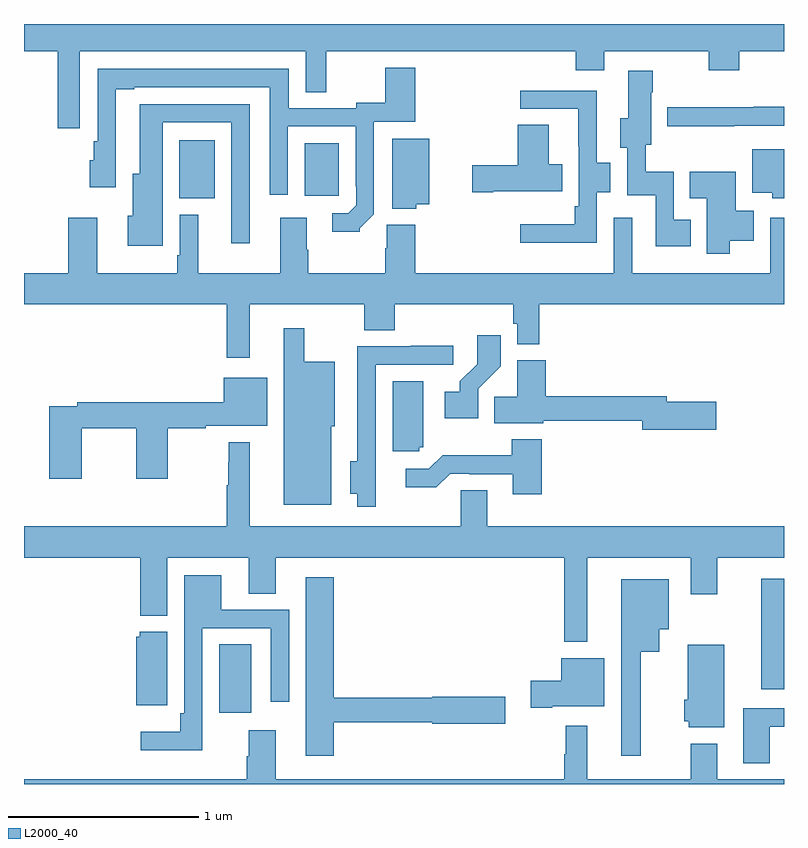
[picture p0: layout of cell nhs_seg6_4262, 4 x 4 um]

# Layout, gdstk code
import gdstk
lib = gdstk.Library(unit=1e-6, precision=1e-09)
def R(c, l, rs):  # rectangles x0, y0, x1, y1
    for r in rs: c.add(gdstk.rectangle(r[:2], r[2:], *l))
def P(c, l, *ps):  # polygons
    for p in ps: c.add(gdstk.Polygon(p, *l))
L2000_40 = (2000, 40)

nhs_seg6_4262 = lib.new_cell('nhs_seg6_4262')
R(nhs_seg6_4262, L2000_40, [(364.028,923.874,364.195,924.236), (366.881,923.999,367,924.58), (363.818,926.582,364.003,926.887), (364.478,926.595,364.657,926.872)])
P(nhs_seg6_4262, L2000_40, [(363.294,927.356),(364.482,927.356),(364.482,927.142),(364.591,927.142),(364.591,927.356),(365.903,927.356),(365.903,927.257),(366.055,927.257),(366.055,927.356),(366.604,927.356),(366.604,927.257),(366.764,927.257),(366.764,927.356),(367,927.356),(367,927.5),(363,927.5),(363,927.356),(363.178,927.356),(363.178,926.952),(363.294,926.952)],
  [(364.767,926.424),(364.842,926.499),(364.842,926.985),(365.06,926.985),(365.06,927.271),(364.9,927.271),(364.9,927.086),(364.749,927.086),(364.749,927.057),(364.393,927.057),(364.393,927.264),(363.387,927.264),(363.387,926.884),(363.367,926.884),(363.367,926.784),(363.347,926.784),(363.347,926.64),(363.483,926.64),(363.483,927.156),(363.58,927.156),(363.58,927.168),(364.293,927.168),(364.293,926.601),(364.389,926.601),(364.389,926.961),(364.746,926.961),(364.746,926.647),(364.749,926.647),(364.749,926.547),(364.707,926.505),(364.623,926.505),(364.623,926.407),(364.767,926.407)],
  [(366.508,926.47),(366.42,926.47),(366.42,926.722),(366.273,926.722),(366.273,926.864),(366.301,926.864),(366.301,927.14),(366.309,927.14),(366.309,927.253),(366.179,927.253),(366.179,927.003),(366.137,927.003),(366.137,926.848),(366.174,926.848),(366.174,926.6),(366.324,926.6),(366.324,926.33),(366.508,926.33)],
  [(366.015,926.614),(366.085,926.614),(366.085,926.769),(366.015,926.769),(366.015,927.15),(365.613,927.15),(365.613,927.054),(365.918,927.054),(365.918,926.857),(365.919,926.857),(365.919,926.542),(365.899,926.542),(365.899,926.446),(365.613,926.446),(365.613,926.348),(366.015,926.348)],
  [(363.73,926.982),(364.092,926.982),(364.092,926.346),(364.188,926.346),(364.188,927.078),(363.608,927.078),(363.608,926.713),(363.572,926.713),(363.572,926.49),(363.545,926.49),(363.545,926.333),(363.73,926.333)],
  [(366.737,926.964),(367,926.964),(367,927.065),(366.841,927.065),(366.841,927.062),(366.386,927.062),(366.386,926.962),(366.737,926.962)],
  [(365.47,926.621),(365.834,926.621),(365.834,926.761),(365.761,926.761),(365.761,926.969),(365.599,926.969),(365.599,926.756),(365.358,926.756),(365.358,926.614),(365.47,926.614)],
  [(365.064,926.552),(365.134,926.552),(365.134,926.896),(364.937,926.896),(364.937,926.528),(365.064,926.528)],
  [(367,926.842),(366.833,926.842),(366.833,926.612),(366.938,926.612),(366.938,926.582),(367,926.582)],
  [(366.715,926.36),(366.842,926.36),(366.842,926.518),(366.745,926.518),(366.745,926.722),(366.505,926.722),(366.505,926.582),(366.593,926.582),(366.593,926.292),(366.715,926.292)],
  [(364.189,926.024),(364.792,926.024),(364.792,925.888),(364.952,925.888),(364.952,926.024),(365.575,926.024),(365.575,925.923),(365.595,925.923),(365.595,925.814),(365.711,925.814),(365.711,926.024),(367,926.024),(367,926.479),(366.927,926.479),(366.927,926.188),(366.201,926.188),(366.201,926.479),(366.105,926.479),(366.105,926.188),(365.06,926.188),(365.06,926.443),(364.908,926.443),(364.908,926.321),(364.9,926.321),(364.9,926.188),(364.497,926.188),(364.497,926.312),(364.489,926.312),(364.489,926.479),(364.349,926.479),(364.349,926.188),(363.916,926.188),(363.916,926.497),(363.819,926.497),(363.819,926.284),(363.807,926.284),(363.807,926.188),(363.385,926.188),(363.385,926.479),(363.233,926.479),(363.233,926.188),(363,926.188),(363,926.024),(364.068,926.024),(364.068,925.743),(364.189,925.743)],
  [(364.618,925.383),(364.636,925.383),(364.636,925.723),(364.474,925.723),(364.474,925.9),(364.367,925.9),(364.367,924.971),(364.618,924.971)],
  [(365.391,925.579),(365.51,925.698),(365.51,925.861),(365.385,925.861),(365.385,925.709),(365.294,925.619),(365.294,925.564),(365.214,925.564),(365.214,925.424),(365.391,925.424)],
  [(364.852,925.182),(364.851,925.182),(364.851,925.707),(365.26,925.707),(365.26,925.806),(365.035,925.806),(365.035,925.803),(364.755,925.803),(364.755,925.199),(364.718,925.199),(364.718,925.028),(364.754,925.028),(364.754,924.96),(364.852,924.96)],
  [(366.643,925.511),(366.382,925.511),(366.382,925.54),(365.747,925.54),(365.747,925.729),(365.597,925.729),(365.597,925.538),(365.476,925.538),(365.476,925.4),(365.734,925.4),(365.734,925.411),(366.254,925.411),(366.254,925.364),(366.643,925.364)],
  [(363.304,925.372),(363.59,925.372),(363.59,925.107),(363.756,925.107),(363.756,925.372),(363.956,925.372),(363.956,925.385),(364.279,925.385),(364.279,925.639),(364.052,925.639),(364.052,925.508),(363.28,925.508),(363.28,925.488),(363.134,925.488),(363.134,925.107),(363.304,925.107)],
  [(365.079,925.272),(365.101,925.272),(365.101,925.621),(364.94,925.621),(364.94,925.251),(365.079,925.251)],
  [(365.726,925.315),(365.566,925.315),(365.566,925.231),(365.203,925.231),(365.13,925.158),(365.01,925.158),(365.01,925.061),(365.171,925.061),(365.244,925.134),(365.344,925.134),(365.344,925.131),(365.573,925.131),(365.573,925.026),(365.726,925.026)],
  [(365.965,924.692),(366.509,924.692),(366.509,924.498),(366.649,924.498),(366.649,924.692),(367,924.692),(367,924.856),(365.437,924.856),(365.437,925.046),(365.298,925.046),(365.298,924.856),(364.189,924.856),(364.189,925.3),(364.078,925.3),(364.078,925.193),(364.075,925.193),(364.075,925.073),(364.068,925.073),(364.068,924.856),(363,924.856),(363,924.692),(363.611,924.692),(363.611,924.386),(363.754,924.386),(363.754,924.692),(364.184,924.692),(364.184,924.502),(364.324,924.502),(364.324,924.692),(365.844,924.692),(365.844,924.248),(365.965,924.248)],
  [(363.939,924.321),(364.299,924.321),(364.299,923.934),(364.395,923.934),(364.395,924.417),(364.039,924.417),(364.039,924.598),(363.843,924.598),(363.843,923.872),(363.823,923.872),(363.823,923.776),(363.615,923.776),(363.615,923.678),(363.939,923.678)],
  [(364.631,923.826),(365.148,923.826),(365.148,923.818),(365.533,923.818),(365.533,923.96),(365.148,923.96),(365.148,923.954),(364.631,923.954),(364.631,924.589),(364.484,924.589),(364.484,923.649),(364.631,923.649)],
  [(366.247,924.197),(366.343,924.197),(366.343,924.314),(366.394,924.314),(366.394,924.577),(366.143,924.577),(366.143,923.649),(366.247,923.649)],
  [(363.754,924.301),(363.609,924.301),(363.609,924.276),(363.59,924.276),(363.59,923.915),(363.754,923.915)],
  [(366.685,924.232),(366.494,924.232),(366.494,923.943),(366.476,923.943),(366.476,923.829),(366.498,923.829),(366.498,923.798),(366.685,923.798)],
  [(365.779,923.909),(366.055,923.909),(366.055,924.163),(365.828,924.163),(365.828,924.044),(365.667,924.044),(365.667,923.902),(365.779,923.902)],
  [(366.925,923.802),(367,923.802),(367,923.898),(366.785,923.898),(366.785,923.61),(366.925,923.61)],
  [(367,923.524),(366.649,923.524),(366.649,923.713),(366.509,923.713),(366.509,923.524),(365.965,923.524),(365.965,923.806),(365.851,923.806),(365.851,923.657),(365.844,923.657),(365.844,923.524),(364.324,923.524),(364.324,923.782),(364.184,923.782),(364.184,923.645),(364.172,923.645),(364.172,923.524),(363,923.524),(363,923.5),(367,923.5)])

lib.write_gds('nhs_seg6_4262.gds')
